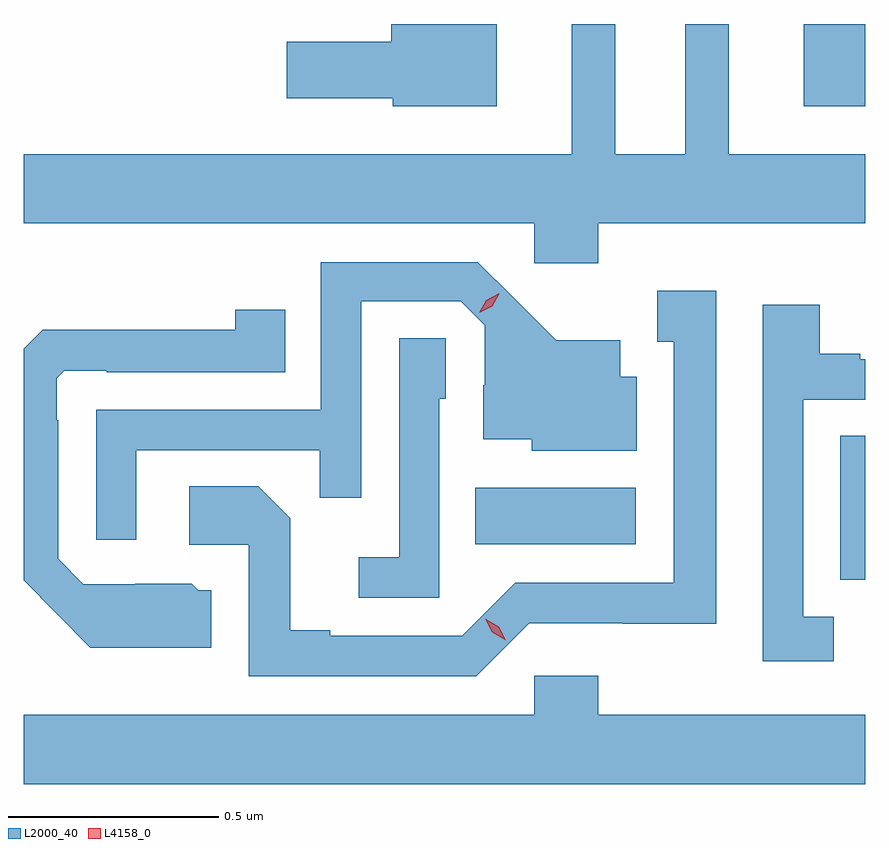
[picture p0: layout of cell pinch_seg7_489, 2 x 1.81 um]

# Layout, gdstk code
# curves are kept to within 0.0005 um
import gdstk
lib = gdstk.Library(unit=1e-6, precision=1e-09)
def R(c, l, rs):  # rectangles x0, y0, x1, y1
    for r in rs: c.add(gdstk.rectangle(r[:2], r[2:], *l))
def P(c, l, *ps):  # polygons
    for p in ps: c.add(gdstk.Polygon(p, *l))
L2000_40 = (2000, 40)
L4158_0 = (4158, 0)

pinch_seg7_489 = lib.new_cell('pinch_seg7_489')
R(pinch_seg7_489, L2000_40, [(218.6,1067.701,218.659,1068.044), (217.732,1067.786,218.113,1067.92), (218.513,1068.827,218.659,1069.022)])
P(pinch_seg7_489, L2000_40, [(218.024,1068.548),(218.659,1068.548),(218.659,1068.712),(218.335,1068.712),(218.335,1069.022),(218.231,1069.022),(218.231,1068.712),(218.065,1068.712),(218.065,1069.022),(217.961,1069.022),(217.961,1068.712),(216.659,1068.712),(216.659,1068.548),(217.872,1068.548),(217.872,1068.453),(218.024,1068.453)],
  [(217.783,1069.022),(217.532,1069.022),(217.532,1068.98),(217.284,1068.98),(217.284,1068.845),(217.536,1068.845),(217.536,1068.827),(217.783,1068.827)],
  [(216.927,1068.009),(217.363,1068.009),(217.363,1067.896),(217.461,1067.896),(217.461,1068.363),(217.698,1068.363),(217.755,1068.306),(217.755,1068.164),(217.751,1068.164),(217.751,1068.035),(217.866,1068.035),(217.866,1068.008),(218.116,1068.008),(218.116,1068.184),(218.077,1068.184),(218.077,1068.271),(217.925,1068.271),(217.738,1068.456),(217.365,1068.456),(217.365,1068.105),(216.831,1068.105),(216.831,1067.796),(216.927,1067.796)],
  [(217.86,1067.598),(218.082,1067.598),(218.082,1067.597),(218.305,1067.597),(218.305,1068.388),(218.165,1068.388),(218.165,1068.267),(218.204,1068.267),(218.204,1067.694),(217.827,1067.694),(217.701,1067.568),(217.387,1067.568),(217.387,1067.581),(217.293,1067.581),(217.293,1067.848),(217.217,1067.924),(217.053,1067.924),(217.053,1067.784),(217.194,1067.784),(217.194,1067.472),(217.734,1067.472)],
  [(218.584,1067.613),(218.511,1067.613),(218.511,1068.129),(218.659,1068.129),(218.659,1068.225),(218.647,1068.225),(218.647,1068.238),(218.551,1068.238),(218.551,1068.355),(218.415,1068.355),(218.415,1067.508),(218.584,1067.508)],
  [(217.105,1067.676),(217.074,1067.676),(217.058,1067.692),(216.924,1067.692),(216.924,1067.691),(216.801,1067.691),(216.741,1067.751),(216.741,1068.08),(216.738,1068.08),(216.738,1068.18),(216.756,1068.198),(216.856,1068.198),(216.856,1068.195),(217.28,1068.195),(217.28,1068.343),(217.162,1068.343),(217.162,1068.296),(216.805,1068.296),(216.805,1068.295),(216.704,1068.295),(216.659,1068.25),(216.659,1067.7),(216.817,1067.54),(217.105,1067.54)],
  [(217.647,1068.132),(217.662,1068.132),(217.662,1068.275),(217.551,1068.275),(217.551,1067.755),(217.455,1067.755),(217.455,1067.658),(217.647,1067.658)],
  [(218.659,1067.38),(218.024,1067.38),(218.024,1067.473),(217.872,1067.473),(217.872,1067.38),(216.659,1067.38),(216.659,1067.216),(218.659,1067.216)])
P(pinch_seg7_489, L4158_0, [(217.805,1067.558),(217.773,1067.577),(217.756,1067.609),(217.756,1067.609),(217.756,1067.609),(217.788,1067.59),(217.805,1067.558),(217.805,1067.558)],
  [(217.741,1068.336),(217.741,1068.336),(217.758,1068.366),(217.789,1068.382),(217.789,1068.382),(217.789,1068.381),(217.772,1068.351),(217.741,1068.336)])

lib.write_gds('pinch_seg7_489.gds')
